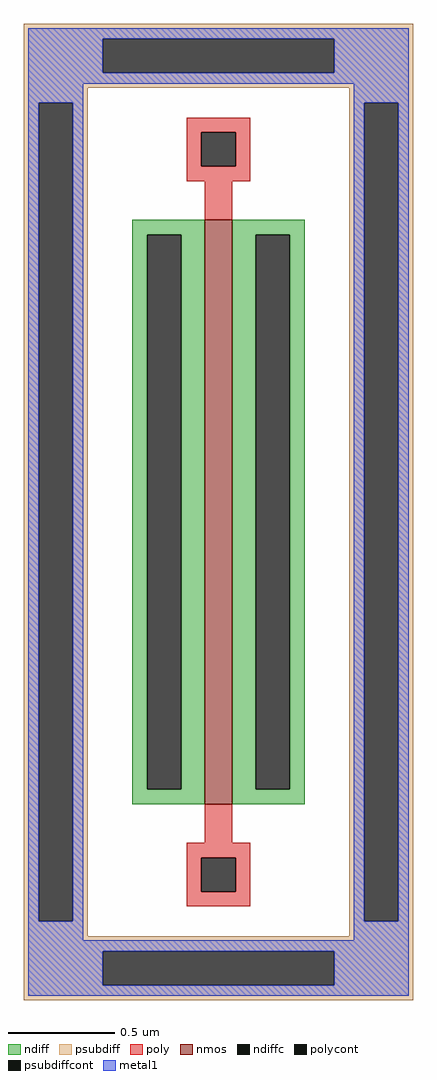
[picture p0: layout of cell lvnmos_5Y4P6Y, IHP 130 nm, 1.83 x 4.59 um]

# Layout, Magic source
magic
tech ihp-sg13g2
magscale 1 2
<< nmos >>
rect -13 -275 13 275
<< ndiff >>
rect -81 261 -13 275
rect -81 -261 -67 261
rect -35 -261 -13 261
rect -81 -275 -13 -261
rect 13 261 81 275
rect 13 -261 35 261
rect 67 -261 81 261
rect 13 -275 81 -261
<< ndiffc >>
rect -67 -261 -35 261
rect 35 -261 67 261
<< psubdiff >>
rect -183 445 183 459
rect -183 413 -109 445
rect 109 413 183 445
rect -183 399 183 413
rect -183 385 -123 399
rect -183 -385 -169 385
rect -137 -385 -123 385
rect 123 385 183 399
rect -183 -399 -123 -385
rect 123 -385 137 385
rect 169 -385 183 385
rect 123 -399 183 -385
rect -183 -413 183 -399
rect -183 -445 -109 -413
rect 109 -445 183 -413
rect -183 -459 183 -445
<< psubdiffcont >>
rect -109 413 109 445
rect -169 -385 -137 385
rect 137 -385 169 385
rect -109 -445 109 -413
<< poly >>
rect -30 357 30 371
rect -30 325 -16 357
rect 16 325 30 357
rect -30 311 30 325
rect -13 275 13 311
rect -13 -311 13 -275
rect -30 -325 30 -311
rect -30 -357 -16 -325
rect 16 -357 30 -325
rect -30 -371 30 -357
<< polycont >>
rect -16 325 16 357
rect -16 -357 16 -325
<< metal1 >>
rect -179 445 179 455
rect -179 413 -109 445
rect 109 413 179 445
rect -179 403 179 413
rect -179 385 -127 403
rect -179 -385 -169 385
rect -137 -385 -127 385
rect 127 385 179 403
rect -179 -403 -127 -385
rect 127 -385 137 385
rect 169 -385 179 385
rect 127 -403 179 -385
rect -179 -413 179 -403
rect -179 -445 -109 -413
rect 109 -445 179 -413
rect -179 -455 179 -445
<< properties >>
string gencell lvnmos
string library sg13g2_devstdin
string parameters w 2.75 l 0.13 nf 1 nx 1 dx 0.21 ny 1 dy 0.18 wmin 0.50 lmin 0.50 class mosfet gcontcov_t 100 gcontcov_b 100 dcontcov_l 100 dcontcov_r 100 guard_distf 1 glc 1 grc 1 gtc 1 gbc 1
<< end >>
